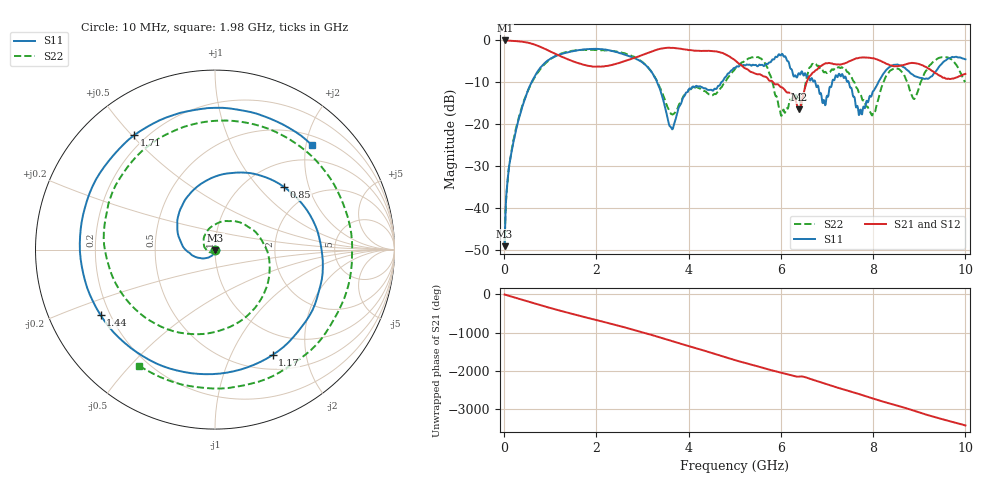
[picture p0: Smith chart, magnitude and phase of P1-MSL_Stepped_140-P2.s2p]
! 2/19/2018 12:39:02 PM
! E:\STEPPED_EXPERIMENT_2018-02-19\P1-MSL_STEPPED140-P2.S2P
! CHANNEL.1
! TR.MEASUREMENT
! CORRECTED.DATA
! Decimated for TDR Painter validation: every 10th frequency point (10 MHz steps), values unchanged.
# GHZ S RI R 50.0
! FREQ.GHZ  S11RE  S11IM  S21RE  S21IM  S12RE  S12IM  S22RE  S22IM
!; PortSelection: Port_12
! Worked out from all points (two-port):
!   1000 points, 10 MHz to 10 GHz, reference 50 ohm
!   highest |S21| = 0.00 dB at 20 MHz (marker M1); lowest = -16.5 dB at 6.39 GHz (marker M2)
!   |S21| within 3 dB of the highest: start of sweep to 1.073 GHz; 3.108 GHz to 4.741 GHz (1.633 GHz wide, 41.6 % of centre)
!   lowest |S11| = -49.1 dB at 10 MHz (marker M3), VSWR 1.01, Z = 50.2 - j0.309 ohm
!   |S11| at or under -10 dB: start of sweep to 592.9 MHz; 3.317 GHz to 4.707 GHz (1.39 GHz wide, 34.6 % of centre); 7.473 GHz to 8.112 GHz (638.9 MHz wide, 8.2 % of centre)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
!   |S22| runs from -48.6 to -2.2 dB; largest |S21 - S12| = 0.02
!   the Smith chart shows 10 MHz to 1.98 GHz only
!   S11 on the Smith chart (normalised r, x): 10 MHz: 1.00, -0.01; 850 MHz: 1.46, +1.39; 1.17 GHz: 0.68, -1.46; 1.44 GHz: 0.16, -0.26; 1.71 GHz: 0.16, +0.51; 1.98 GHz: 0.67, +2.11
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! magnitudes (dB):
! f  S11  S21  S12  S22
! 10 MHz  -49.1  0.0  0.0  -48.6
! 20 MHz  -44.8  0.0  0.0  -44.6
! 280 MHz  -20.4  -0.2  -0.2  -20.0
! 850 MHz  -5.7  -1.8  -1.8  -6.0
! 1.17 GHz  -3.5  -3.5  -3.5  -3.4
! 1.44 GHz  -2.7  -4.7  -4.8  -2.5
! 1.68 GHz  -2.2  -5.6  -5.7  -2.3
! 1.71 GHz  -2.2  -5.8  -5.8  -2.3
! 1.98 GHz  -2.0  -6.3  -6.2  -2.2
! 3.34 GHz  -10.7  -2.1  -2.1  -10.3
! 3.63 GHz  -20.9  -1.8  -1.8  -17.6
! 5.01 GHz  -6.5  -4.8  -4.8  -6.7
! 5.54 GHz  -5.8  -8.1  -8.1  -4.2
! 6 GHz  -3.5  -11.1  -11.2  -17.8
! 6.39 GHz  -7.8  -16.5  -16.5  -13.7
! 6.67 GHz  -9.0  -7.9  -7.9  -5.8
! 6.94 GHz  -14.5  -5.6  -5.6  -7.6
! 7.37 GHz  -9.0  -5.5  -5.5  -6.9
! 7.72 GHz  -16.5  -4.1  -4.1  -12.8
! 7.98 GHz  -12.6  -4.2  -4.2  -17.9
! 8.34 GHz  -6.5  -5.8  -5.8  -7.6
! 10 GHz  -4.5  -8.0  -8.0  -9.9
